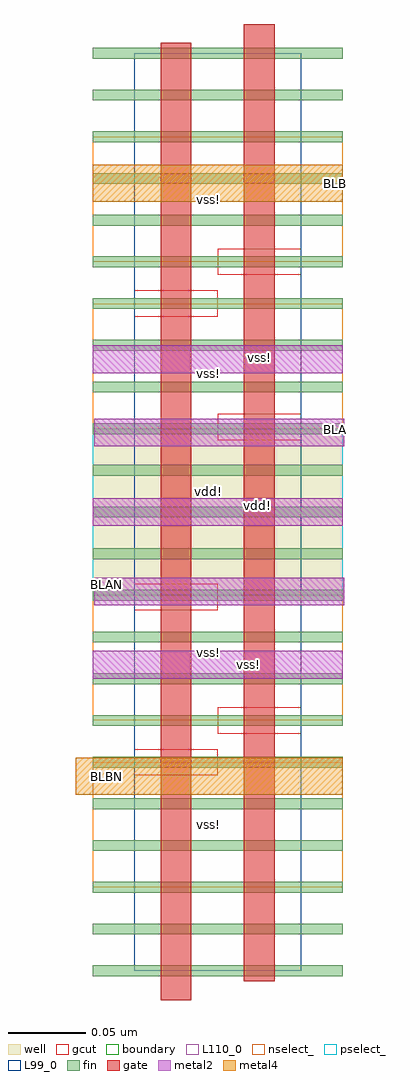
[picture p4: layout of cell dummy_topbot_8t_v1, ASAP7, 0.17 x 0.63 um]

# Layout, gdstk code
import gdstk
lib = gdstk.Library(unit=1e-6, precision=2.5e-10)
def R(c, l, rs):  # rectangles x0, y0, x1, y1
    for r in rs: c.add(gdstk.rectangle(r[:2], r[2:], *l))
def A(c, l, x, y, w, h, nx, ny, dx, dy):  # array of equal rectangles
    R(c, l, [(x+i*dx, y+j*dy, x+i*dx+w, y+j*dy+h) for i in range(nx) for j in range(ny)])
well = (1, 0)
fin = (2, 0)
gate = (7, 0)
gcut = (10, 0)
nselect_ = (12, 0)
pselect_ = (13, 0)
metal2 = (20, 0)
metal4 = (40, 0)
L99_0 = (99, 0)
boundary = (100, 0)
L110_0 = (110, 0)

dummy_topbot_8t_v1 = lib.new_cell('dummy_topbot_8t_v1')
R(dummy_topbot_8t_v1, well, [(-0.027,0.081,0.135,0.189)])
A(dummy_topbot_8t_v1, fin, -0.027, -0.1655, 0.162, 0.007, 1, 23, 0, 0.027)
R(dummy_topbot_8t_v1, gate, [(0.017,-0.181,0.037,0.439), (0.071,-0.169,0.091,0.451)])
R(dummy_topbot_8t_v1, gcut, [(0,-0.0355,0.054,-0.0185), (0.054,-0.0085,0.108,0.0085), (0,0.0715,0.054,0.0885), (0.054,0.1815,0.108,0.1985), (0,0.2615,0.054,0.2785), (0.054,0.2885,0.108,0.3055)])
R(dummy_topbot_8t_v1, nselect_, [(-0.027,-0.108,0.135,-0.027), (-0.027,0,0.135,0.081), (-0.027,0.189,0.135,0.27), (-0.027,0.297,0.135,0.378)])
R(dummy_topbot_8t_v1, pselect_, [(-0.027,0.081,0.135,0.189)])
A(dummy_topbot_8t_v1, metal2, -0.027, 0.027, 0.162, 0.018, 1, 3, 0, 0.099)
R(dummy_topbot_8t_v1, metal2, [(-0.026,0.0745,0.136,0.0925), (-0.026,0.1775,0.136,0.1955)])
R(dummy_topbot_8t_v1, metal4, [(-0.038,-0.048,0.135,-0.024), (-0.027,0.336,0.135,0.36)])
R(dummy_topbot_8t_v1, L99_0, [(0,-0.162,0.108,0.432)])
R(dummy_topbot_8t_v1, boundary, [(0,-0.162,0.108,0.432)])
R(dummy_topbot_8t_v1, L110_0, [(0,-0.162,0.108,0.432)])
dummy_topbot_8t_v1.add(gdstk.Label('vss!', (0.081,0.235), layer=20, texttype=251))
dummy_topbot_8t_v1.add(gdstk.Label('vss!', (0.074,0.036), layer=20, texttype=251))
dummy_topbot_8t_v1.add(gdstk.Label('vdd!', (0.0795,0.1395), layer=20, texttype=251))
dummy_topbot_8t_v1.add(gdstk.Label('BLA', (0.13,0.1885), layer=20, texttype=251))
dummy_topbot_8t_v1.add(gdstk.Label('BLAN', (-0.018,0.088), layer=20, texttype=251))
dummy_topbot_8t_v1.add(gdstk.Label('vdd!', (0.048,0.148), layer=1, texttype=251))
dummy_topbot_8t_v1.add(gdstk.Label('vss!', (0.048,0.2245), layer=3, texttype=251))
dummy_topbot_8t_v1.add(gdstk.Label('vss!', (0.048,0.044), layer=3, texttype=251))
dummy_topbot_8t_v1.add(gdstk.Label('BLBN', (-0.018,-0.036), layer=40, texttype=251))
dummy_topbot_8t_v1.add(gdstk.Label('BLB', (0.13,0.348), layer=40, texttype=251))
dummy_topbot_8t_v1.add(gdstk.Label('vss!', (0.048,-0.0675), layer=3, texttype=251))
dummy_topbot_8t_v1.add(gdstk.Label('vss!', (0.048,0.3375), layer=3, texttype=251))

lib.write_gds('dummy_topbot_8t_v1.gds')
